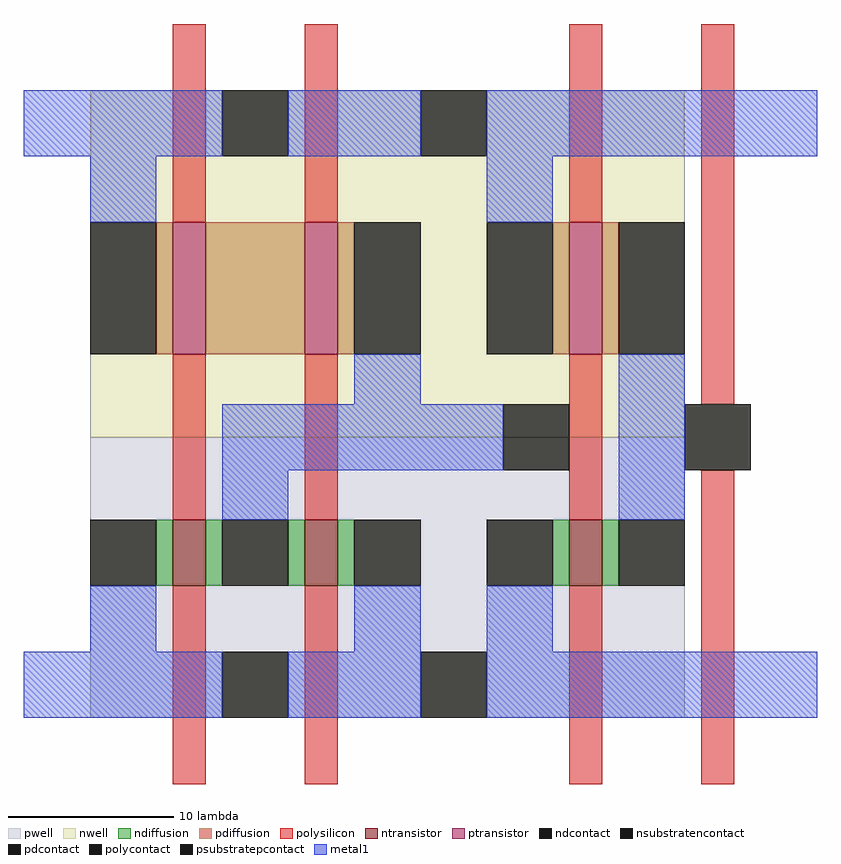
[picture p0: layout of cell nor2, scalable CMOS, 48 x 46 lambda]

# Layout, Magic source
magic
tech scmos
<< pwell >>
rect 11 -9 47 8
<< nwell >>
rect 11 8 47 29
<< polysilicon >>
rect 16 21 18 33
rect 24 21 26 33
rect 40 21 42 33
rect 16 3 18 13
rect 24 3 26 13
rect 40 3 42 13
rect 48 10 50 33
rect 16 -13 18 -1
rect 24 -13 26 -1
rect 40 -13 42 -1
rect 48 -13 50 6
<< ndiffusion >>
rect 15 -1 16 3
rect 18 -1 19 3
rect 23 -1 24 3
rect 26 -1 27 3
rect 39 -1 40 3
rect 42 -1 43 3
<< pdiffusion >>
rect 15 13 16 21
rect 18 13 24 21
rect 26 13 27 21
rect 39 13 40 21
rect 42 13 43 21
<< metal1 >>
rect 7 25 19 29
rect 23 25 31 29
rect 35 25 55 29
rect 11 21 15 25
rect 35 21 39 25
rect 27 10 31 13
rect 19 6 36 10
rect 19 3 23 6
rect 43 3 47 13
rect 11 -5 15 -1
rect 27 -5 31 -1
rect 35 -5 39 -1
rect 7 -9 19 -5
rect 23 -9 31 -5
rect 35 -9 55 -5
<< ntransistor >>
rect 16 -1 18 3
rect 24 -1 26 3
rect 40 -1 42 3
<< ptransistor >>
rect 16 13 18 21
rect 24 13 26 21
rect 40 13 42 21
<< polycontact >>
rect 36 6 40 10
rect 47 6 51 10
<< ndcontact >>
rect 11 -1 15 3
rect 19 -1 23 3
rect 27 -1 31 3
rect 35 -1 39 3
rect 43 -1 47 3
<< pdcontact >>
rect 11 13 15 21
rect 27 13 31 21
rect 35 13 39 21
rect 43 13 47 21
<< psubstratepcontact >>
rect 19 -9 23 -5
rect 31 -9 35 -5
<< nsubstratencontact >>
rect 19 25 23 29
rect 31 25 35 29
<< end >>
